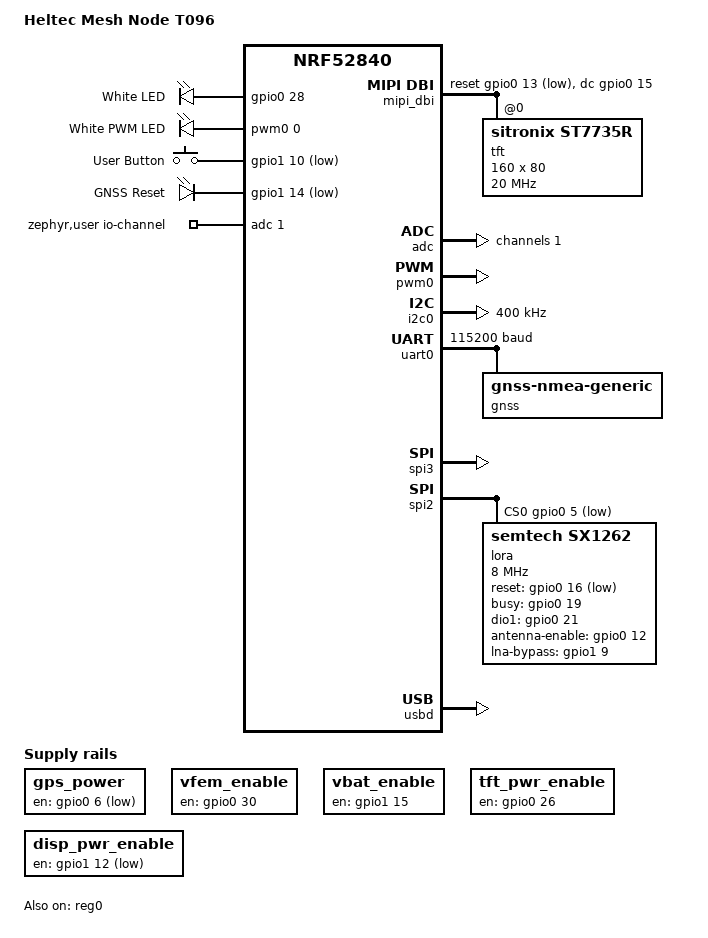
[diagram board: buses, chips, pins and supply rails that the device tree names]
/*
 * Heltec Mesh Node T096 - nRF52840 + SX1262 + UC6580 GNSS
 * Copyright (c) 2026 ZephCore
 *
 * SPDX-License-Identifier: MIT
 *
 * Pin mappings are verified against the official Heltec
 * Mesh_Node_T096_V0.2 schematic. MeshCore's heltec_t096 variant was used as
 * a comparison source; the schematic is the source of truth for implemented
 * nets in this DTS.
 */

/dts-v1/;
#include <nordic/nrf52840_qiaa.dtsi>
#include <zephyr/dt-bindings/lora/sx126x.h>
#include <zephyr/dt-bindings/adc/nrf-saadc.h>
#include <zephyr/dt-bindings/input/input-event-codes.h>
#include <zephyr/dt-bindings/pwm/pwm.h>
#include "heltec_t096_nrf52840-pinctrl.dtsi"

/ {
	model = "Heltec Mesh Node T096";
	compatible = "heltec,t096";

	chosen {
		zephyr,sram = &sram0;
		zephyr,flash = &flash0;
		zephyr,code-partition = &code_partition;
		zephyr,console = &cdc_acm_uart;
		zephyr,shell-uart = &cdc_acm_uart;
		zephyr,display = &mono_tft;
		zephcore,gps-power = &gps_power;
	};

	aliases {
		led0 = &led_white;
		lora-tx-led = &led_white;
		/* Same physical LED (P0.28) as led0/lora-tx-led above, reached
		 * through the PWM peripheral instead of a raw GPIO write. Both
		 * ui_common.c (heartbeat/message/shutdown) and ZephyrBoard.cpp
		 * (LoRa TX flash) prefer this alias over the plain GPIO one when
		 * it exists, so every event that used to hit led_white now goes
		 * through the shared brightness in helpers/led_gate.h instead —
		 * deliberately one dimmer for the whole LED, not a separate
		 * heartbeat-only control (see helpers/led_gate.h). */
		heartbeat-pwm-led = &pwm_led_white;
		lora-tx-pwm-led = &pwm_led_white;
		sw0 = &user_button;
		lora0 = &lora;
		watchdog0 = &wdt0;
		gps-reset = &gps_reset_pin;
		display0 = &tft;
	};

	leds {
		compatible = "gpio-leds";

		/* Schematic net LED: P0.28 -> R25 -> LED2 -> GND, active-HIGH. */
		led_white: led_0 {
			gpios = <&gpio0 28 GPIO_ACTIVE_HIGH>;
			label = "White LED";
		};
	};

	pwmleds {
		compatible = "pwm-leds";

		/* Same P0.28 net as led_white above, driven by PWM0 channel 0
		 * instead. Declaring both DT nodes for one pin is an established
		 * pattern in this project (Heltec V4.3 does the same for its own
		 * LED) — only one of the two code paths is ever compiled in for a
		 * given purpose, selected by which alias exists. */
		pwm_led_white: pwm_led_gpio28 {
			label = "White PWM LED";
			pwms = <&pwm0 0 PWM_MSEC(10) PWM_POLARITY_NORMAL>;
		};
	};

	buttons: buttons {
		compatible = "gpio-keys";

		/* Schematic net Button: P1.10, switch to GND. */
		user_button: button_0 {
			gpios = <&gpio1 10 (GPIO_PULL_UP | GPIO_ACTIVE_LOW)>;
			zephyr,code = <INPUT_KEY_0>;
			label = "User Button";
		};
	};

	user_btn_longpress: user_btn_longpress {
		compatible = "zephyr,input-longpress";
		input = <&buttons>;
		input-codes = <INPUT_KEY_0>;
		short-codes = <INPUT_KEY_A>;
		long-codes = <INPUT_KEY_ENTER>;
		long-delay-ms = <1000>;
	};

	/*
	 * Input filter: user button multi-tap detection.
	 *
	 * Page navigation is the most frequent action on a multi-page screen, so
	 * previous-page takes the 2-tap slot here (as on the Wireless Tracker)
	 * and the toggles shift down one.  The stock 3-tap buzzer slot is not
	 * carried over: T096 has no buzzer, and CONFIG_ZEPHCORE_UI_BUZZER=n
	 * compiles action_buzzer_toggle() down to an empty body, so that gesture
	 * was dead.  Screenless boards keep the stock order — page-prev would be
	 * a no-op there and would only push the LED toggle further out.
	 *
	 *   1 tap  (400ms wait) → KEY_1    = page next
	 *   2 taps (400ms wait) → KEY_LEFT = page previous
	 *   3 taps (400ms wait) → KEY_B    = LED heartbeat toggle
	 *   4 taps (400ms wait) → KEY_C    = GPS on/off
	 *   5 taps (immediate)  → KEY_E    = flood advert
	 */
	user_btn_multitap {
		compatible = "zephcore,input-multi-tap";
		input-codes = <INPUT_KEY_A>;
		tap-codes = <INPUT_KEY_1 INPUT_KEY_LEFT INPUT_KEY_B INPUT_KEY_C INPUT_KEY_E>;
		tap-delay-ms = <400>;
	};

	/*
	 * Schematic net VGNSS_CTRL: P0.06 controls the VGNSS_3V3 rail.
	 * MeshCore defines PIN_GPS_EN_ACTIVE=LOW for this net.
	 */
	gps_power: gps-power {
		compatible = "regulator-fixed";
		regulator-name = "gps-power";
		enable-gpios = <&gpio0 6 GPIO_ACTIVE_LOW>;
		regulator-boot-on;
		/* Documents the module's requirement, but do not rely on it:
		 * regulator-boot-on sends regulator_common_init() down the
		 * refcount-only branch, so regulator_delay() never runs and this
		 * value is inert. Harmless here because gnss-nmea-generic never
		 * probes the receiver — it attaches a UART and parses whatever
		 * arrives, so an unpowered module means no sentences yet, not a
		 * failed init. ZephyrGPSManager owns the rail at runtime via
		 * chosen { zephcore,gps-power }. */
		startup-delay-us = <10000>;
	};

	/* Schematic net GNSS_RST: P1.14 -> UC6580 RESETN, active-LOW. */
	gps_rst: gps-reset {
		compatible = "gpio-leds";
		gps_reset_pin: gps_reset {
			gpios = <&gpio1 14 GPIO_ACTIVE_LOW>;
			label = "GNSS Reset";
		};
	};

	/* Schematic net VFEM_Ctrl: P0.30 enables U5, producing the Vfem rail. */
	vfem_enable: vfem-enable {
		compatible = "regulator-fixed";
		regulator-name = "vfem-enable";
		enable-gpios = <&gpio0 30 GPIO_ACTIVE_HIGH>;
		regulator-boot-on;
		/* Documents the FEM's requirement, but do not rely on it:
		 * regulator-boot-on sends regulator_common_init() down the
		 * refcount-only branch, so regulator_delay() never runs and this
		 * value is inert. Harmless here because the FEM is a passive
		 * gain block with no bus to probe — nothing addresses it at init. */
		startup-delay-us = <1000>;
	};

	/* Schematic net ADC_Ctrl: P1.15 enables the VBAT divider. */
	vbat_enable: vbat-enable {
		compatible = "regulator-fixed";
		regulator-name = "vbat-enable";
		enable-gpios = <&gpio1 15 GPIO_ACTIVE_HIGH>;
	};

	/*
	 * Schematic net Vext_Ctrl: P0.26 enables the switched peripheral rail
	 * that MeshCore's T096 variant claims before ST7735 display init.
	 */
	tft_pwr_enable: tft-pwr-enable {
		compatible = "regulator-fixed";
		regulator-name = "tft-pwr-enable";
		enable-gpios = <&gpio0 26 GPIO_ACTIVE_HIGH>;
		regulator-boot-on;
		/* Documents the panel's requirement, but do not rely on it:
		 * regulator-boot-on sends regulator_common_init() down the
		 * refcount-only branch, so regulator_delay() never runs and this
		 * value is inert. The real settle time comes from the ST7735R
		 * driver's own mipi_dbi_reset() + exit-sleep delay, at
		 * DISPLAY_INIT_PRIORITY 85 against this rail's 75. */
		startup-delay-us = <10000>;
	};

	/*
	 * Schematic/datasheet display LED net LEDA: P1.12. MeshCore defines
	 * PIN_TFT_LEDA_CTL_ACTIVE=LOW for the T096 backlight control.
	 */
	disp_pwr_enable: disp-pwr-enable {
		compatible = "regulator-fixed";
		regulator-name = "disp-pwr-enable";
		enable-gpios = <&gpio1 12 GPIO_ACTIVE_LOW>;
	};

	/*
	 * Monochrome wrapper around the ST7735S-compatible TFT.
	 * Reports PIXEL_FORMAT_MONO01 to CFB and converts rows to RGB565.
	 */
	mono_tft: mono-tft {
		compatible = "zephcore,mono-tft";
		tft-dev = <&tft>;
		width = <160>;
		height = <80>;
	};

	/*
	 * MIPI-DBI SPI bus for the ST7735S 0.96" 160x80 TFT.
	 * T096 schematic nets:
	 * - RS    -> P0.15, data/command
	 * - RESET -> P0.13, active-LOW reset
	 * - SDIN  -> P0.17, SPI MOSI
	 * - SCLK  -> P0.20, SPI SCK
	 * - CS    -> P0.22, SPI chip-select
	 */
	mipi_dbi {
		compatible = "zephyr,mipi-dbi-spi";
		spi-dev = <&spi3>;
		dc-gpios = <&gpio0 15 GPIO_ACTIVE_HIGH>;
		reset-gpios = <&gpio0 13 GPIO_ACTIVE_LOW>;
		write-only;
		#address-cells = <1>;
		#size-cells = <0>;

		tft: st7735s@0 {
			compatible = "sitronix,st7735r";
			mipi-max-frequency = <20000000>;
			mipi-mode = "MIPI_DBI_MODE_SPI_4WIRE";
			reg = <0>;
			width = <160>;
			height = <80>;
			/* No inversion-on: the mono_tft wrapper writes 0xFFFF for a lit
			 * pixel and 0x0000 for background, so INV_ON paints a light
			 * background with dark text.  The UI is drawn light-on-dark. */
			x-offset = <0>;
			y-offset = <24>;
			madctl = <0xa8>;
			colmod = <0x05>;
			invctr = <7>;
			vmctr1 = <0x0e>;
			pwctr1 = [a2 02 84];
			pwctr2 = [c1];
			pwctr3 = [0a 00];
			pwctr4 = [8a 2a];
			pwctr5 = [8a ee];
			frmctr1 = [01 26 2e];
			frmctr2 = [01 26 2e];
			frmctr3 = [01 26 2e 01 26 2e];
			gamctrp1 = [0f 1a 0f 18 2f 28 20 22 1f 1b 23 37 00 07 02 10];
			gamctrn1 = [0f 1b 0f 17 33 2c 29 2e 30 2e 30 3b 00 07 03 10];
			caset = [00 00 00 9f];
			raset = [00 18 00 67];
		};
	};

	zephyr,user {
		io-channels = <&adc 1>;
		/*
		 * Schematic: ADC_IN on P0.03/AIN1, divider R22=390K high side
		 * and R23=100K low side -> 4.9:1. With ADC_GAIN_1_6 and
		 * internal 0.6V ref, full-scale is 3600 mV.
		 */
		vbat-mv-multiplier = <17728>;
	};
};

&reg0 {
	status = "okay";
};

&reg1 {
	regulator-initial-mode = <NRF5X_REG_MODE_DCDC>;
};

&adc {
	status = "okay";
	#address-cells = <1>;
	#size-cells = <0>;

	channel@1 {
		reg = <1>;
		zephyr,gain = "ADC_GAIN_1_6";
		zephyr,reference = "ADC_REF_INTERNAL";
		zephyr,acquisition-time = <ADC_ACQ_TIME(ADC_ACQ_TIME_MICROSECONDS, 10)>;
		zephyr,input-positive = <NRF_SAADC_AIN1>;
		zephyr,resolution = <12>;
	};
};

&gpiote {
	status = "okay";
};

&gpio0 {
	status = "okay";
};

&gpio1 {
	status = "okay";
};

/* Drives the shared heartbeat/TX LED (P0.28) via pwm_led_white above. */
&pwm0 {
	status = "okay";
	pinctrl-0 = <&pwm0_default>;
	pinctrl-1 = <&pwm0_sleep>;
	pinctrl-names = "default", "sleep";
};

&i2c0 {
	compatible = "nordic,nrf-twim";
	status = "okay";
	clock-frequency = <I2C_BITRATE_FAST>;
	pinctrl-0 = <&i2c0_default>;
	pinctrl-1 = <&i2c0_sleep>;
	pinctrl-names = "default", "sleep";

	#include "../../common/sensors-i2c.dtsi"
};

&uart0 {
	compatible = "nordic,nrf-uarte";
	status = "okay";
	current-speed = <115200>;
	pinctrl-0 = <&uart0_default>;
	pinctrl-1 = <&uart0_sleep>;
	pinctrl-names = "default", "sleep";

	gnss: gnss {
		compatible = "gnss-nmea-generic";
	};
};

/* SPI3 - ST7735S 0.96" 160x80 TFT display */
&spi3 {
	compatible = "nordic,nrf-spim";
	status = "okay";
	pinctrl-0 = <&spi3_default>;
	pinctrl-1 = <&spi3_sleep>;
	pinctrl-names = "default", "sleep";
	cs-gpios = <&gpio0 22 GPIO_ACTIVE_LOW>; /* Schematic net CS */
};

/* SPI2 - SX1262 LoRa radio */
&spi2 {
	compatible = "nordic,nrf-spim";
	status = "okay";
	cs-gpios = <&gpio0 5 GPIO_ACTIVE_LOW>;  /* Schematic net LoRa_NSS */
	pinctrl-0 = <&spi2_default>;
	pinctrl-1 = <&spi2_sleep>;
	pinctrl-names = "default", "sleep";

	lora: lora@0 {
		compatible = "semtech,sx1262";
		reg = <0>;
		spi-max-frequency = <8000000>;

		reset-gpios = <&gpio0 16 GPIO_ACTIVE_LOW>;  /* LoRa_RST */
		busy-gpios = <&gpio0 19 GPIO_ACTIVE_HIGH>;  /* LoRa_BUSY */
		dio1-gpios = <&gpio0 21 (GPIO_PULL_DOWN | GPIO_ACTIVE_HIGH)>; /* DIO1 */

		/*
		 * KCT8103L PA/FEM control:
		 * - PA_CSD P0.12 -> CSD, active-HIGH FEM enable, low only in sleep.
		 * - PA_CTX P1.09 -> CTX, the receive-path select: LOW routes RX
		 *   through the LNA, HIGH bypasses it.  Held HIGH in TX, where
		 *   the receive branch is inert.  This is lna-bypass-gpios, not
		 *   tx-enable-gpios — it enables nothing.
		 * - PA_CPS is not an MCU GPIO on T096; it is the SX1262 DIO2
		 *   net into the KCT8103L CPS pin, so use dio2-tx-enable.  That
		 *   is what does the TX/RX switching and leaves CTX free.
		 */
		antenna-enable-gpios = <&gpio0 12 GPIO_ACTIVE_HIGH>; /* PA_CSD */
		lna-bypass-gpios = <&gpio1 9 GPIO_ACTIVE_HIGH>;      /* PA_CTX */
		dio2-tx-enable;                                      /* PA_CPS */

		dio3-tcxo-voltage = <SX126X_DIO3_TCXO_1V8>;
		tcxo-power-startup-delay-ms = <5>;
		rx-boosted;
	};
};

/*
 * External SPI flash footprint is present in the schematic (F_SPI_* nets),
 * but the memory device and Zephyr-compatible parameters are not confirmed.
 */
&qspi {
	status = "disabled";
};

zephyr_udc0: &usbd {
	compatible = "nordic,nrf-usbd";
	status = "okay";

	cdc_acm_uart: cdc_acm_uart {
		compatible = "zephyr,cdc-acm-uart";
	};
};

/* SoftDevice s140 v6.1.1 flash layout (app@0x26000, bootloader@0xF4000) */
#include "../../common/nrf52_partitions_sdv6.dtsi"
#include "../../common/nrf52_wakeup.dtsi"
